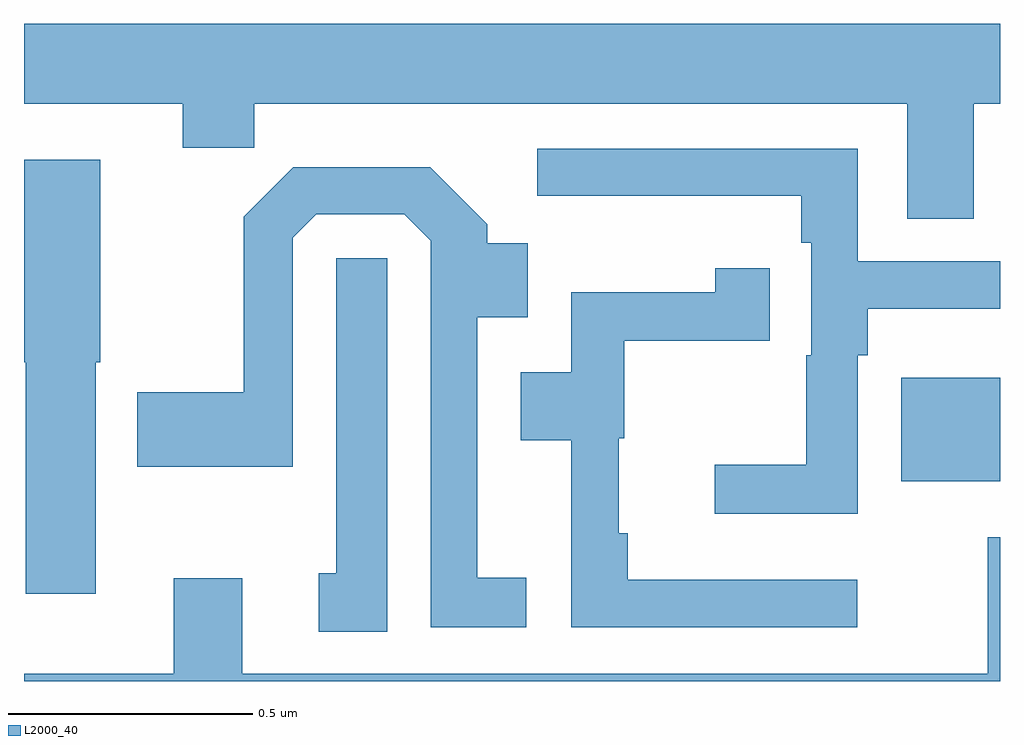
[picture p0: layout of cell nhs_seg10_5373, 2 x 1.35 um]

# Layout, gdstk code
import gdstk
lib = gdstk.Library(unit=1e-6, precision=1e-09)
def R(c, l, rs):  # rectangles x0, y0, x1, y1
    for r in rs: c.add(gdstk.rectangle(r[:2], r[2:], *l))
def P(c, l, *ps):  # polygons
    for p in ps: c.add(gdstk.Polygon(p, *l))
L2000_40 = (2000, 40)

nhs_seg10_5373 = lib.new_cell('nhs_seg10_5373')
R(nhs_seg10_5373, L2000_40, [(179.798,1264.91,180,1265.122)])
P(nhs_seg10_5373, L2000_40, [(179.946,1265.684),(180,1265.684),(180,1265.848),(178,1265.848),(178,1265.684),(178.325,1265.684),(178.325,1265.594),(178.472,1265.594),(178.472,1265.684),(179.81,1265.684),(179.81,1265.448),(179.946,1265.448)],
  [(179.709,1265.168),(179.729,1265.168),(179.729,1265.264),(180,1265.264),(180,1265.361),(179.709,1265.361),(179.709,1265.592),(179.052,1265.592),(179.052,1265.495),(179.593,1265.495),(179.593,1265.399),(179.613,1265.399),(179.613,1265.168),(179.603,1265.168),(179.603,1264.944),(179.415,1264.944),(179.415,1264.844),(179.709,1264.844)],
  [(178.147,1265.154),(178.156,1265.154),(178.156,1265.569),(178,1265.569),(178,1265.154),(178.004,1265.154),(178.004,1264.68),(178.147,1264.68)],
  [(179.029,1264.712),(178.929,1264.712),(178.929,1265.246),(179.032,1265.246),(179.032,1265.398),(178.949,1265.398),(178.949,1265.437),(178.832,1265.554),(178.552,1265.554),(178.45,1265.452),(178.45,1265.093),(178.232,1265.093),(178.232,1264.94),(178.551,1264.94),(178.551,1265.409),(178.599,1265.457),(178.779,1265.457),(178.833,1265.403),(178.833,1264.611),(179.029,1264.611)],
  [(178.744,1265.367),(178.64,1265.367),(178.64,1264.722),(178.604,1264.722),(178.604,1264.602),(178.744,1264.602)],
  [(179.707,1264.708),(179.237,1264.708),(179.237,1264.804),(179.219,1264.804),(179.219,1264.998),(179.23,1264.998),(179.23,1265.198),(179.528,1265.198),(179.528,1265.347),(179.417,1265.347),(179.417,1265.297),(179.121,1265.297),(179.121,1265.134),(179.018,1265.134),(179.018,1264.994),(179.121,1264.994),(179.121,1264.611),(179.707,1264.611)],
  [(180,1264.795),(179.975,1264.795),(179.975,1264.516),(178.447,1264.516),(178.447,1264.711),(178.307,1264.711),(178.307,1264.516),(178,1264.516),(178,1264.5),(180,1264.5)])

lib.write_gds('nhs_seg10_5373.gds')
